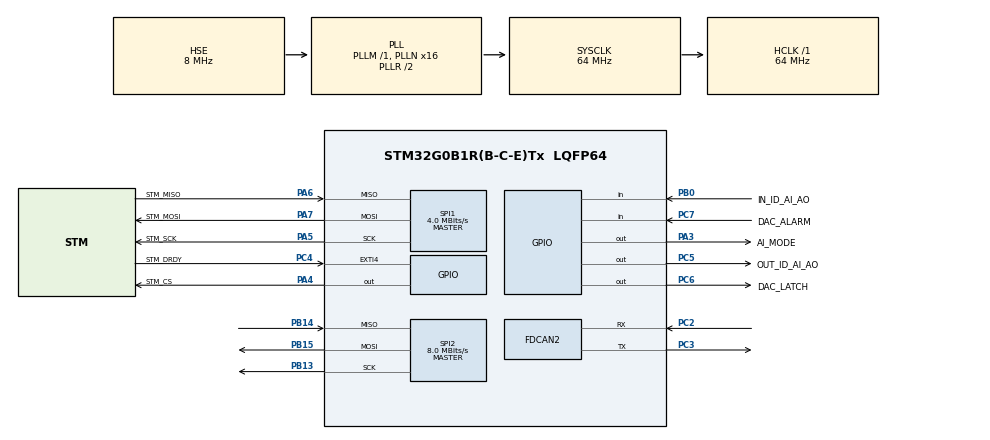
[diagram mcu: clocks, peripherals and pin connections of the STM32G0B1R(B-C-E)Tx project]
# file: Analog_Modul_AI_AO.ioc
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FDCAN2.AutoRetransmission=ENABLE
FDCAN2.CalculateBaudRateNominal=50000
FDCAN2.CalculateTimeBitNominal=20000
FDCAN2.CalculateTimeQuantumNominal=2500.0
FDCAN2.NominalPrescaler=160
FDCAN2.NominalTimeSeg1=5
FDCAN2.NominalTimeSeg2=2
Mcu.Family=STM32G0
Mcu.Name=STM32G0B1R(B-C-E)Tx
Mcu.Package=LQFP64
NVIC.EXTI4_15_IRQn=true\:0\:0\:false\:false\:true\:true\:true\:true
NVIC.TIM16_FDCAN_IT0_IRQn=true\:0\:0\:false\:false\:true\:true\:true\:true
NVIC.TIM17_FDCAN_IT1_IRQn=true\:0\:0\:false\:false\:true\:true\:true\:true
PA13.Mode=Serial_Wire
PA13.Signal=SYS_SWDIO
PA14-BOOT0.Mode=Serial_Wire
PA14-BOOT0.Signal=SYS_SWCLK
PA3.GPIO_Label=AI_MODE
PA3.Signal=GPIO_Output
PA4.GPIO_Label=STM_CS
PA4.PinState=GPIO_PIN_SET
PA4.Signal=GPIO_Output
PA5.GPIO_Label=STM_SCK
PA5.Mode=Full_Duplex_Master
PA5.Signal=SPI1_SCK
PA6.GPIO_Label=STM_MISO
PA6.Mode=Full_Duplex_Master
PA6.Signal=SPI1_MISO
PA7.GPIO_Label=STM_MOSI
PA7.Mode=Full_Duplex_Master
PA7.Signal=SPI1_MOSI
PB0.GPIO_Label=IN_ID_AI_AO
PB0.Signal=GPIO_Input
PB13.Mode=Full_Duplex_Master
PB13.Signal=SPI2_SCK
PB14.Mode=Full_Duplex_Master
PB14.Signal=SPI2_MISO
PB15.Mode=Full_Duplex_Master
PB15.Signal=SPI2_MOSI
PC2.GPIO_Speed=GPIO_SPEED_FREQ_VERY_HIGH
PC2.Mode=FDCAN_Activate
PC2.Signal=FDCAN2_RX
PC3.GPIO_Speed=GPIO_SPEED_FREQ_VERY_HIGH
PC3.Mode=FDCAN_Activate
PC3.Signal=FDCAN2_TX
PC4.GPIO_Label=STM_DRDY
PC4.GPIO_ModeDefaultEXTI=GPIO_MODE_IT_FALLING
PC4.GPIO_PuPd=GPIO_PULLUP
PC4.Signal=GPXTI4
PC5.GPIO_Label=OUT_ID_AI_AO
PC5.Signal=GPIO_Output
PC6.GPIO_Label=DAC_LATCH
PC6.GPIO_Speed=GPIO_SPEED_FREQ_HIGH
PC6.Signal=GPIO_Output
PC7.GPIO_Label=DAC_ALARM
PC7.Signal=GPIO_Input
PF0-OSC_IN\ (PF0).Mode=HSE-External-Oscillator
PF0-OSC_IN\ (PF0).Signal=RCC_OSC_IN
PF1-OSC_OUT\ (PF1).Mode=HSE-External-Oscillator
PF1-OSC_OUT\ (PF1).Signal=RCC_OSC_OUT
ProjectManager.HeapSize=0x200
ProjectManager.StackSize=0x400
ProjectManager.TargetToolchain=STM32CubeIDE
RCC.ADCFreq_Value=64000000
RCC.AHBFreq_Value=64000000
RCC.CortexFreq_Value=64000000
RCC.EXTERNAL_CLOCK_VALUE=48000
RCC.HCLKFreq_Value=64000000
RCC.HSE_VALUE=8000000
RCC.HSI48_VALUE=48000000
RCC.HSI_VALUE=16000000
RCC.LSE_VALUE=32768
RCC.PLLN=16
RCC.PLLSourceVirtual=RCC_PLLSOURCE_HSE
RCC.SYSCLKFreq_VALUE=64000000
RCC.SYSCLKSource=RCC_SYSCLKSOURCE_PLLCLK
RCC.USBFreq_Value=48000000
RCC.VCOOutputFreq_Value=128000000
SPI1.BaudRatePrescaler=SPI_BAUDRATEPRESCALER_16
SPI1.CLKPhase=SPI_PHASE_2EDGE
SPI1.CalculateBaudRate=4.0 MBits/s
SPI1.DataSize=SPI_DATASIZE_8BIT
SPI1.Direction=SPI_DIRECTION_2LINES
SPI1.Mode=SPI_MODE_MASTER
SPI1.VirtualType=VM_MASTER
SPI2.BaudRatePrescaler=SPI_BAUDRATEPRESCALER_8
SPI2.CalculateBaudRate=8.0 MBits/s
SPI2.DataSize=SPI_DATASIZE_8BIT
SPI2.Direction=SPI_DIRECTION_2LINES
SPI2.Mode=SPI_MODE_MASTER
SPI2.VirtualType=VM_MASTER
VP_SYS_VS_DBSignals.Mode=DisableDeadBatterySignals
board=custom

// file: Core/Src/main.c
/* USER CODE BEGIN Header */
/**
  ******************************************************************************
  * @file           : main.c
  * @brief          : Main program body
  ******************************************************************************
  * @attention
  *
  * Copyright (c) 2026 STMicroelectronics.
  * All rights reserved.
  *
  * This software is licensed under terms that can be found in the LICENSE file
  * in the root directory of this software component.
  * If no LICENSE file comes with this software, it is provided AS-IS.
  *
  ******************************************************************************
  */
/* USER CODE END Header */
#include "main.h"
#include "fdcan.h"
#include "spi.h"
#include "gpio.h"

/* USER CODE BEGIN Includes */
#include "ads1220.h"
#include "hvac_can.h"
#include "hvac_cfg.h"
#include "hvac_id.h"
#include "fwupd/fwupd_app.h"
/* USER CODE END Includes */

/* USER CODE BEGIN PD */
#define AI_FW_VERSION       0x0104u /* major << 8 | minor */
#define AI_BOARD_REV        1u
#define AI_APP_START        0x08004000u /* after the 16K bootloader, see linker script */

/* ADS1220 inputs: 0/4-20 mA over 250 Ohm (up to 5 V), scaled x0.2 by INA159 */
#define AI_CHANNELS         2u
#define AI_MUX_CH1          0x0Au   /* AIN2, terminal H3 */
#define AI_MUX_CH2          0x09u   /* AIN1, terminal H4 */
#define AI_FRONTEND_GAIN    5.0f    /* ADC volts -> volts on the 250 Ohm shunt */
#define AI_SHUNT_OHM        250.0f

#define AI_LOOP_MIN_MA      3.6f    /* 4-20 mA below: open loop */
#define AI_LOOP_MAX_MA      21.0f   /* above: short / overrange */

/* The measurement frame carries 0.01 units in int16. */
#define AI_VALUE_LIMIT      327.0f

/* Until the Main PLC sends the configuration: bench transmitter Rotronic HF5,
 * output 1 = humidity 0..100 %RH, output 2 = temperature 0..50 C. */
#define AI_DEF_CH1_MIN      0.0f
#define AI_DEF_CH1_MAX      100.0f
#define AI_DEF_CH2_MIN      0.0f
#define AI_DEF_CH2_MAX      50.0f

#define AI_SEND_PERIOD_MS   500u
/* USER CODE END PD */

/* USER CODE BEGIN PV */
typedef struct
{
  uint8_t signal;  /* HVAC_SIG_* */
  float   lo;      /* value at the bottom of the signal */
  float   hi;      /* value at the top; lo == hi: report the signal itself */
} AiChannelCfg;

static AiChannelCfg s_ch[AI_CHANNELS] = {
  { HVAC_SIG_4_20MA, AI_DEF_CH1_MIN, AI_DEF_CH1_MAX },
  { HVAC_SIG_4_20MA, AI_DEF_CH2_MIN, AI_DEF_CH2_MAX },
};
static const uint8_t s_mux[AI_CHANNELS] = { AI_MUX_CH1, AI_MUX_CH2 };

static uint8_t s_cfg_gen;      /* generation of the last CFG_SET, 0 = defaults */
static uint8_t s_cfg_ok_mask;
static uint8_t s_cfg_bad_mask;
static uint8_t s_cfg_last_err;

FWUPD_APP_HEADER(FWUPD_TYPE_AI, AI_BOARD_REV, AI_FW_VERSION);
/* USER CODE END PV */

void SystemClock_Config(void);

/* USER CODE BEGIN 0 */
/* Converts one channel to engineering units by its configuration; returns 0 if the loop is faulty or off. */
static uint8_t AI_ReadChannel(uint8_t ch, float *value, uint8_t *adc_fault)
{
  const AiChannelCfg *c = &s_ch[ch];
  float base = (c->signal == HVAC_SIG_4_20MA) ? 4.0f : 0.0f;
  float v_adc;

  *value = 0.0f;
  if (c->signal == HVAC_SIG_OFF) return 0u;
  if (ADS1220_ReadVoltage(s_mux[ch], &v_adc) != HAL_OK)
  {
    *adc_fault = 1u;
    return 0u;
  }
  float ma = v_adc * AI_FRONTEND_GAIN / AI_SHUNT_OHM * 1000.0f;
  if (ma > AI_LOOP_MAX_MA) return 0u;
  if (c->signal == HVAC_SIG_4_20MA && ma < AI_LOOP_MIN_MA) return 0u;
  if (ma < 0.0f) ma = 0.0f;

  if (c->lo == c->hi)
  {
    *value = ma;
    return 1u;
  }
  float v = c->lo + (ma - base) * (c->hi - c->lo) / (20.0f - base);
  if (v < c->lo) v = c->lo;
  if (v > c->hi) v = c->hi;
  *value = v;
  return 1u;
}

static void AI_Send(uint32_t id, uint8_t is_ext, const uint8_t d[8])
{
  FDCAN_TxHeaderTypeDef h = {0};

  h.Identifier = id;
  h.IdType = is_ext ? FDCAN_EXTENDED_ID : FDCAN_STANDARD_ID;
  h.TxFrameType = FDCAN_DATA_FRAME;
  h.DataLength = FDCAN_DLC_BYTES_8;
  h.ErrorStateIndicator = FDCAN_ESI_ACTIVE;
  h.BitRateSwitch = FDCAN_BRS_OFF;
  h.FDFormat = FDCAN_CLASSIC_CAN;
  h.TxEventFifoControl = FDCAN_NO_TX_EVENTS;
  HAL_FDCAN_AddMessageToTxFifoQ(&hfdcan2, &h, (uint8_t *)d);
}

static void AI_SendFwupd(uint32_t ext_id, const uint8_t data[8])
{
  AI_Send(ext_id, 1u, data);
}

static void AI_SendStd(uint32_t std_id, const uint8_t data[8])
{
  AI_Send(std_id, 0u, data);
}

/* Optocoupler input with pull-up: line raised -> pin low. */
static uint8_t AI_IdInputActive(void)
{
  return (HAL_GPIO_ReadPin(IN_ID_AI_AO_GPIO_Port, IN_ID_AI_AO_Pin) == GPIO_PIN_RESET) ? 1u : 0u;
}

static void AI_IdSetOutput(uint8_t out)
{
  HAL_GPIO_WritePin(OUT_ID_AI_AO_GPIO_Port, OUT_ID_AI_AO_Pin,
                    (out == HVAC_ID_OUT_CHAIN) ? GPIO_PIN_SET : GPIO_PIN_RESET);
}

static const HvacIdNodeCfg s_id_cfg = {
  .cat = HVAC_CAT_AI,
  .board_rev = AI_BOARD_REV,
  .input_active = AI_IdInputActive,
  .set_output = AI_IdSetOutput,
  .send = AI_SendStd,
};

static void AI_SendCfgStatus(void)
{
  uint8_t d[8];
  uint8_t line, rail, place;

  if (!HvacId_Get(&line, &rail, &place)) rail = place = HVAC_CFG_PLACE_ANY;
  d[0] = FWUPD_TYPE_AI;
  d[1] = place;
  d[2] = rail;
  d[3] = s_cfg_gen;
  d[4] = s_cfg_ok_mask;
  d[5] = s_cfg_bad_mask;
  d[6] = s_cfg_last_err;
  d[7] = 0u;
  AI_SendStd(HVAC_CAN_ID_CFG_STATUS, d);
}

/* Applies one CFG_SET addressed to this module; the channel keeps its previous setting if rejected. */
static void AI_ApplyCfg(const uint8_t d[8])
{
  uint8_t ch = (uint8_t)(d[2] >> 4);
  uint8_t sig = (uint8_t)(d[2] & 0x0Fu);
  float lo = (float)hvac_cfg_get16(&d[4]) / 10.0f;
  float hi = (float)hvac_cfg_get16(&d[6]) / 10.0f;
  uint8_t err = HVAC_CFG_E_OK;
  uint8_t line, rail, place;

  if (!HvacId_Get(&line, &rail, &place) || d[0] != place || d[1] != rail) return;

  if (ch < 1u || ch > AI_CHANNELS) err = HVAC_CFG_E_CHANNEL;
  else if (sig != HVAC_SIG_OFF && sig != HVAC_SIG_4_20MA && sig != HVAC_SIG_0_20MA) err = HVAC_CFG_E_SIGNAL;
  else if (sig != HVAC_SIG_OFF && !(lo == 0.0f && hi == 0.0f) &&
           (lo >= hi || lo < -AI_VALUE_LIMIT || hi > AI_VALUE_LIMIT)) err = HVAC_CFG_E_RANGE;

  /* A new generation starts clean; within one generation the first rejection is kept. */
  if (d[3] != s_cfg_gen)
  {
    s_cfg_gen = d[3];
    s_cfg_ok_mask = 0u;
    s_cfg_bad_mask = 0u;
    s_cfg_last_err = HVAC_CFG_E_OK;
  }
  if (err != HVAC_CFG_E_OK && s_cfg_last_err == HVAC_CFG_E_OK) s_cfg_last_err = err;
  if (ch >= 1u && ch <= AI_CHANNELS)
  {
    uint8_t bit = (uint8_t)(1u << (ch - 1u));
    if (err == HVAC_CFG_E_OK)
    {
      s_ch[ch - 1u].signal = sig;
      s_ch[ch - 1u].lo = lo;
      s_ch[ch - 1u].hi = hi;
      s_cfg_ok_mask |= bit;
      s_cfg_bad_mask &= (uint8_t)~bit;
    }
    else
    {
      s_cfg_ok_mask &= (uint8_t)~bit;
      s_cfg_bad_mask |= bit;
    }
  }
}

static void AI_PollRx(void)
{
  FDCAN_RxHeaderTypeDef rh;
  uint8_t d[8];

  while (HAL_FDCAN_GetRxFifoFillLevel(&hfdcan2, FDCAN_RX_FIFO0) > 0u)
  {
    if (HAL_FDCAN_GetRxMessage(&hfdcan2, FDCAN_RX_FIFO0, &rh, d) != HAL_OK) break;
    if (rh.DataLength != FDCAN_DLC_BYTES_8) continue;
    if (rh.IdType == FDCAN_EXTENDED_ID)
    {
      FwupdApp_OnRx(rh.Identifier, 1u, d, 8u);
    }
    else if (rh.Identifier == HVAC_CAN_ID_ID_CMD)
    {
      HvacId_OnCmd(d);
    }
    else if (rh.Identifier == HVAC_CAN_ID_CFG_SET)
    {
      uint8_t line, rail, place;
      AI_ApplyCfg(d);
      if (HvacId_Get(&line, &rail, &place) && d[0] == place && d[1] == rail) AI_SendCfgStatus();
    }
  }
}
/* USER CODE END 0 */

int main(void)
{

  /* USER CODE BEGIN 1 */
  SCB->VTOR = AI_APP_START;
  /* USER CODE END 1 */

  /* MCU Configuration--------------------------------------------------------*/

  /* Reset of all peripherals, Initializes the Flash interface and the Systick. */
  HAL_Init();

  /* Configure the system clock */
  SystemClock_Config();

  /* Initialize all configured peripherals */
  MX_GPIO_Init();
  MX_FDCAN2_Init();
  MX_SPI1_Init();
  MX_SPI2_Init();
  /* USER CODE BEGIN 2 */
  ADS1220_Init();

  FDCAN_TxHeaderTypeDef TxHeader;
  TxHeader.Identifier = HVAC_CAN_ID_AI_MEAS;
  TxHeader.IdType = FDCAN_STANDARD_ID;
  TxHeader.TxFrameType = FDCAN_DATA_FRAME;
  TxHeader.DataLength = FDCAN_DLC_BYTES_8;
  TxHeader.ErrorStateIndicator = FDCAN_ESI_ACTIVE;
  TxHeader.BitRateSwitch = FDCAN_BRS_OFF;
  TxHeader.FDFormat = FDCAN_CLASSIC_CAN;
  TxHeader.TxEventFifoControl = FDCAN_NO_TX_EVENTS;
  TxHeader.MessageMarker = 0;

  /* Standard IDs: configuration and identification; extended IDs: firmware update. */
  HAL_FDCAN_ConfigGlobalFilter(&hfdcan2, FDCAN_ACCEPT_IN_RX_FIFO0, FDCAN_ACCEPT_IN_RX_FIFO0,
                               FDCAN_REJECT_REMOTE, FDCAN_REJECT_REMOTE);
  HAL_FDCAN_Start(&hfdcan2);

  {
    const uint32_t uid[3] = { HAL_GetUIDw0(), HAL_GetUIDw1(), HAL_GetUIDw2() };
    FwupdApp_Init(AI_SendFwupd, FWUPD_TYPE_AI, AI_BOARD_REV, AI_FW_VERSION);
    HvacId_Init(&s_id_cfg, fwupd_node_tag(uid));
  }

  HvacAiMeas meas = {0};
  uint32_t last_send = HAL_GetTick() - AI_SEND_PERIOD_MS;
  uint32_t last_status = HAL_GetTick();
  /* USER CODE END 2 */

  /* Infinite loop */
  /* USER CODE BEGIN WHILE */
  while (1)
  {
    if (hfdcan2.Instance->PSR & FDCAN_PSR_BO) {
        HAL_FDCAN_Stop(&hfdcan2);
        HAL_FDCAN_Start(&hfdcan2);
    }

    AI_PollRx();
    FwupdApp_Poll();
    HvacId_Poll();

    if (HAL_GetTick() - last_status >= HVAC_CFG_STATUS_MS)
    {
      last_status = HAL_GetTick();
      AI_SendCfgStatus();
    }

    if (HAL_GetTick() - last_send >= AI_SEND_PERIOD_MS)
    {
      last_send = HAL_GetTick();

      /* Frame fields: humidity = channel 1, temperature = channel 2; the PLC maps them by the configuration. */
      uint8_t adc_fault = 0u;
      uint8_t id_line;
      if (!HvacId_Get(&id_line, &meas.rail, &meas.place)) meas.place = meas.rail = HVAC_AI_PLACE_NONE;
      meas.status = 0u;
      if (!AI_ReadChannel(0u, &meas.humidity_pct, &adc_fault))
        meas.status |= HVAC_AI_ST_HUM_FAULT;
      if (!AI_ReadChannel(1u, &meas.temperature_c, &adc_fault))
        meas.status |= HVAC_AI_ST_TEMP_FAULT;
      if (adc_fault) meas.status |= HVAC_AI_ST_ADC_FAULT;
      meas.counter++;

      uint8_t tx_data[8];
      hvac_can_ai_encode(&meas, tx_data);
      HAL_FDCAN_AddMessageToTxFifoQ(&hfdcan2, &TxHeader, tx_data);
    }
    /* USER CODE END WHILE */

  }
}

void SystemClock_Config(void)
{
  RCC_OscInitTypeDef RCC_OscInitStruct = {0};
  RCC_ClkInitTypeDef RCC_ClkInitStruct = {0};

  /** Configure the main internal regulator output voltage
  */
  HAL_PWREx_ControlVoltageScaling(PWR_REGULATOR_VOLTAGE_SCALE1);

  /** Initializes the RCC Oscillators according to the specified parameters
  * in the RCC_OscInitTypeDef structure.
  */
  RCC_OscInitStruct.OscillatorType = RCC_OSCILLATORTYPE_HSE;
  RCC_OscInitStruct.HSEState = RCC_HSE_ON;
  RCC_OscInitStruct.PLL.PLLState = RCC_PLL_ON;
  RCC_OscInitStruct.PLL.PLLSource = RCC_PLLSOURCE_HSE;
  RCC_OscInitStruct.PLL.PLLM = RCC_PLLM_DIV1;
  RCC_OscInitStruct.PLL.PLLN = 16;
  RCC_OscInitStruct.PLL.PLLP = RCC_PLLP_DIV2;
  RCC_OscInitStruct.PLL.PLLQ = RCC_PLLQ_DIV2;
  RCC_OscInitStruct.PLL.PLLR = RCC_PLLR_DIV2;
  if (HAL_RCC_OscConfig(&RCC_OscInitStruct) != HAL_OK)
  {
    Error_Handler();
  }

  /** Initializes the CPU, AHB and APB buses clocks
  */
  RCC_ClkInitStruct.ClockType = RCC_CLOCKTYPE_HCLK|RCC_CLOCKTYPE_SYSCLK
                              |RCC_CLOCKTYPE_PCLK1;
  RCC_ClkInitStruct.SYSCLKSource = RCC_SYSCLKSOURCE_PLLCLK;
  RCC_ClkInitStruct.AHBCLKDivider = RCC_SYSCLK_DIV1;
  RCC_ClkInitStruct.APB1CLKDivider = RCC_HCLK_DIV1;

  if (HAL_RCC_ClockConfig(&RCC_ClkInitStruct, FLASH_LATENCY_2) != HAL_OK)
  {
    Error_Handler();
  }
}

void Error_Handler(void)
{
  __disable_irq();
  while (1)
  {
  }
}
